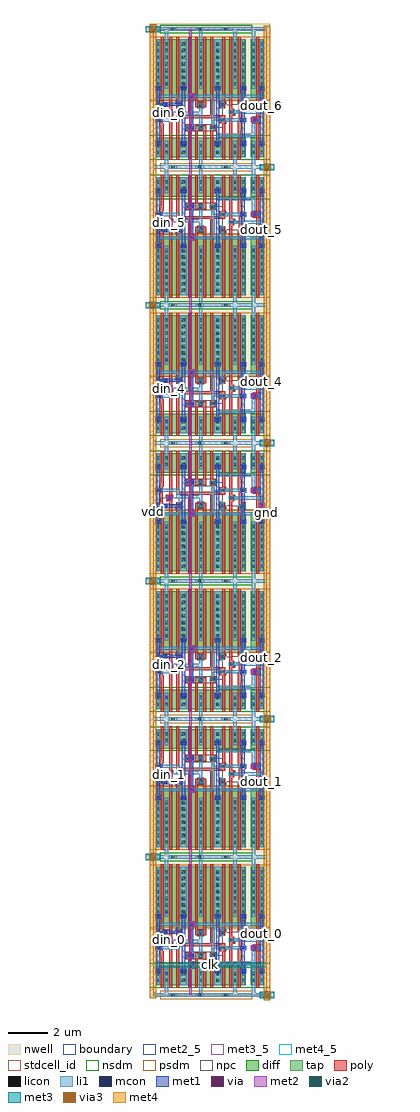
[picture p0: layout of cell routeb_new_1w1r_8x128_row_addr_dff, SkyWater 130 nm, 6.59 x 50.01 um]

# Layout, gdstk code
import gdstk
lib = gdstk.Library(unit=1e-6, precision=1e-09)
def R(c, l, rs):  # rectangles x0, y0, x1, y1
    for r in rs: c.add(gdstk.rectangle(r[:2], r[2:], *l))
def A(c, l, x, y, w, h, nx, ny, dx, dy):  # array of equal rectangles
    R(c, l, [(x+i*dx, y+j*dy, x+i*dx+w, y+j*dy+h) for i in range(nx) for j in range(ny)])
nwell = (64, 20)
diff = (65, 20)
tap = (65, 44)
poly = (66, 20)
licon = (66, 44)
li1 = (67, 20)
mcon = (67, 44)
met1 = (68, 20)
via = (68, 44)
met2_5 = (69, 5)
met2 = (69, 20)
via2 = (69, 44)
met3_5 = (70, 5)
met3 = (70, 20)
via3 = (70, 44)
met4_5 = (71, 5)
met4 = (71, 20)
stdcell_id = (81, 4)
nsdm = (93, 44)
psdm = (94, 20)
npc = (95, 20)
boundary = (235, 4)

sky130_fd_bd_sram__openr = lib.new_cell('sky130_fd_bd_sram__openram_dff')
R(sky130_fd_bd_sram__openr, nwell, [(-0.18,3.38,6.02,7.335)])
R(sky130_fd_bd_sram__openr, diff, [(0.14,0.51,4.75,1.51), (5.02,0.51,5.7,1.51), (0.14,3.56,4.75,6.56), (5.02,3.56,5.7,6.56)])
A(sky130_fd_bd_sram__openr, tap, 0.805, -0.085, 0.44, 0.17, 3, 2, 1.36, 7.07)
R(sky130_fd_bd_sram__openr, poly, [(0.405,0.38,0.555,2.085), (0.835,0.38,0.985,2.655), (1.195,0.38,1.345,2.505), (1.795,0.38,1.945,1.855), (2.155,0.38,2.305,1.885), (2.585,0.38,2.735,1.885), (2.945,0.38,3.095,1.855), (3.545,0.38,3.695,2.255), (3.905,0.38,4.055,2.655), (4.335,0.38,4.485,1.855), (5.285,0.38,5.435,2.255), (1.675,1.855,1.945,2.185), (2.945,1.855,3.215,2.185), (4.335,1.855,4.54,2.405), (2.155,1.885,2.735,2.155), (0.355,2.085,0.555,2.235), (0.355,2.235,0.505,3.055), (3.425,2.255,3.695,2.505), (5.165,2.255,5.435,2.585), (4.39,2.405,4.54,3.055), (1.195,2.505,3.695,2.655), (5.285,2.585,5.435,6.69), (0.715,2.655,0.985,2.985), (1.795,2.655,1.945,6.69), (2.945,2.655,3.095,6.69), (3.905,2.655,4.175,2.985), (0.835,2.985,0.985,6.69), (3.905,2.985,4.055,6.69), (1.195,3.03,1.465,3.36), (3.425,3.03,3.695,3.36), (0.235,3.055,0.505,3.335), (4.39,3.055,4.69,3.235), (2.155,3.065,2.735,3.335), (4.335,3.235,4.69,3.385), (0.235,3.335,0.555,3.385), (2.155,3.335,2.305,6.69), (2.585,3.335,2.735,6.69), (1.195,3.36,1.345,6.69), (3.545,3.36,3.695,6.69), (0.35,3.385,0.555,3.485), (4.335,3.385,4.485,6.69), (0.405,3.485,0.555,6.69)])
A(sky130_fd_bd_sram__openr, licon, 0.94, -0.085, 0.17, 0.17, 3, 2, 1.36, 7.07)
A(sky130_fd_bd_sram__openr, licon, 0.61, 0.675, 0.17, 0.17, 5, 2, 0.875, 0.34)
A(sky130_fd_bd_sram__openr, licon, 1.725, 1.935, 0.17, 0.17, 3, 1, 0.635, 0)
A(sky130_fd_bd_sram__openr, licon, 0.18, 4.185, 0.17, 0.17, 1, 7, 0, 0.34)
A(sky130_fd_bd_sram__openr, licon, 0.61, 4.185, 0.17, 0.17, 5, 7, 0.875, 0.34)
A(sky130_fd_bd_sram__openr, licon, 4.54, 4.185, 0.17, 0.17, 1, 7, 0, 0.34)
A(sky130_fd_bd_sram__openr, licon, 5.06, 4.185, 0.17, 0.17, 1, 7, 0, 0.34)
A(sky130_fd_bd_sram__openr, licon, 5.49, 4.185, 0.17, 0.17, 1, 7, 0, 0.34)
R(sky130_fd_bd_sram__openr, licon, [(0.18,0.675,0.35,0.845), (4.54,0.675,4.71,0.845), (5.06,0.675,5.23,0.845), (5.49,0.675,5.66,0.845), (0.18,1.015,0.35,1.185), (4.54,1.015,4.71,1.185), (5.06,1.015,5.23,1.185), (5.49,1.015,5.66,1.185), (3.475,2.335,3.645,2.505), (5.215,2.335,5.385,2.505), (0.765,2.735,0.935,2.905), (3.955,2.735,4.125,2.905), (1.245,3.11,1.415,3.28), (3.475,3.11,3.645,3.28), (2.36,3.115,2.53,3.285), (0.285,3.135,0.455,3.305), (4.47,3.135,4.64,3.305)])
A(sky130_fd_bd_sram__openr, li1, 0.61, 0.09, 0.17, 1.26, 3, 1, 1.75, 0)
A(sky130_fd_bd_sram__openr, li1, 0.61, 4.02, 0.17, 2.96, 3, 1, 1.75, 0)
R(sky130_fd_bd_sram__openr, li1, [(0,-0.09,5.84,0.09), (0,-0.09,5.84,0.09), (5.06,0.09,5.23,1.35), (0.18,0.51,0.35,1.35), (1.4,0.51,1.74,1.35), (3.15,0.51,3.49,1.35), (4.54,0.51,4.71,1.355), (5.49,0.51,5.66,1.355), (3.235,1.35,3.405,1.535), (3.235,1.535,5.23,1.705), (5.06,1.705,5.23,2.335), (1.64,1.935,2.065,2.105), (2.28,1.935,2.61,2.105), (2.915,1.935,3.245,2.105), (2.36,2.105,2.53,2.66), (2.995,2.105,3.165,3.535), (0.18,2.335,1.365,2.505), (3.395,2.335,4.71,2.505), (5.06,2.335,5.465,2.505), (1.195,2.505,1.365,2.66), (1.195,2.66,2.53,2.83), (0.685,2.735,1.015,2.905), (3.875,2.735,5.66,2.905), (2.36,2.83,2.53,3.115), (5.49,2.905,5.66,3.26), (1.245,3.03,1.415,3.535), (3.475,3.03,3.645,3.535), (2.28,3.115,2.61,3.285), (0.205,3.135,0.735,3.305), (4.39,3.135,4.72,3.305), (4.47,3.305,4.64,3.535), (0.205,3.535,5.66,3.705), (0.18,3.935,0.35,6.56), (1.485,3.935,1.655,4.02), (3.235,3.935,3.405,4.02), (4.54,3.935,4.71,6.56), (5.49,3.935,5.66,6.56), (1.4,4.02,1.74,6.56), (3.15,4.02,3.49,6.56), (5.06,4.02,5.23,6.98), (0,6.98,5.84,7.16), (0,6.98,5.84,7.16), (0,6.98,5.84,7.16)])
R(sky130_fd_bd_sram__openr, mcon, [(0.18,1.135,0.35,1.305), (1.485,1.135,1.655,1.305), (3.235,1.135,3.405,1.305), (4.54,1.135,4.71,1.305), (5.49,1.135,5.66,1.305), (1.895,1.935,2.065,2.105), (0.18,2.335,0.35,2.505), (4.54,2.335,4.71,2.505), (5.1,2.335,5.27,2.505), (0.765,2.735,0.935,2.905), (5.49,3.09,5.66,3.26), (0.565,3.135,0.735,3.305), (1.895,3.535,2.065,3.705), (0.18,3.935,0.35,4.105), (1.485,3.935,1.655,4.105), (3.235,3.935,3.405,4.105), (4.54,3.935,4.71,4.105), (5.49,3.935,5.66,4.105)])
R(sky130_fd_bd_sram__openr, met1, [(0.12,1.105,0.41,1.335), (1.425,1.105,1.715,1.335), (3.175,1.105,3.465,1.335), (4.48,1.105,4.77,1.335), (5.43,1.105,5.72,1.335), (0.18,1.335,0.35,2.305), (1.485,1.335,1.655,3.135), (3.235,1.335,3.405,3.905), (4.54,1.335,4.71,2.305), (5.49,1.335,5.66,3.045), (1.845,1.86,2.115,1.905), (1.835,1.905,2.125,2.135), (1.845,2.135,2.115,2.18), (1.895,2.18,2.065,3.46), (5.02,2.29,5.35,2.55), (0.12,2.305,0.41,2.535), (4.48,2.305,4.77,2.535), (0.18,2.535,0.35,3.905), (4.54,2.535,4.71,3.905), (0.685,2.69,1.015,2.95), (5.41,3.045,5.74,3.305), (0.505,3.105,0.795,3.135), (0.505,3.135,1.655,3.305), (0.505,3.305,0.795,3.335), (1.485,3.305,1.655,3.905), (5.49,3.305,5.66,3.905), (1.845,3.46,2.115,3.505), (1.835,3.505,2.125,3.735), (1.845,3.735,2.115,3.78), (0.12,3.905,0.41,4.135), (1.425,3.905,1.715,4.135), (3.175,3.905,3.465,4.135), (4.48,3.905,4.77,4.135), (5.43,3.905,5.72,4.135)])
R(sky130_fd_bd_sram__openr, via, [(5.11,2.345,5.26,2.495), (0.775,2.745,0.925,2.895), (5.5,3.1,5.65,3.25), (1.905,3.545,2.055,3.695)])
R(sky130_fd_bd_sram__openr, met2_5, [(0.685,2.69,1.015,2.95), (5.41,3.045,5.74,3.305), (1.845,3.46,2.115,3.78)])
R(sky130_fd_bd_sram__openr, met2, [(5.02,2.29,5.35,2.55), (0.685,2.69,1.015,2.95), (0.685,2.69,1.015,2.95), (0.685,2.69,1.015,2.95), (5.41,3.045,5.74,3.305), (5.41,3.045,5.74,3.305), (5.41,3.045,5.74,3.305), (1.845,3.46,2.115,3.78), (1.845,3.46,2.115,3.78), (1.845,3.46,2.115,3.78)])
R(sky130_fd_bd_sram__openr, stdcell_id, [(0,0,5.84,7.07)])
R(sky130_fd_bd_sram__openr, nsdm, [(-0.18,0.385,6.02,1.635), (0.36,6.86,5.075,7.07), (0.36,7.07,5.075,7.28)])
R(sky130_fd_bd_sram__openr, psdm, [(0.36,-0.21,5.075,0), (0.36,0,5.075,0.21), (-0.18,3.435,6.02,6.685)])
R(sky130_fd_bd_sram__openr, npc, [(1.625,1.835,3.265,2.01), (1.625,2.01,3.57,2.205), (3.07,2.205,3.57,2.235), (3.07,2.235,3.745,2.41), (5.115,2.235,5.485,2.605), (3.07,2.41,4.05,2.43), (3.375,2.43,4.05,2.605), (3.55,2.605,4.05,2.635), (0.665,2.635,1.035,2.81), (3.55,2.635,4.225,2.81), (0.36,2.81,1.34,3.01), (3.55,2.81,4.565,3.01), (0.36,3.01,1.515,3.035), (3.375,3.01,4.565,3.035), (2.26,3.015,2.63,3.385), (0.185,3.035,1.515,3.205), (3.375,3.035,4.74,3.205), (0.185,3.205,0.86,3.23), (1.145,3.205,1.515,3.38), (3.375,3.205,3.745,3.38), (4.03,3.205,4.74,3.23), (0.185,3.23,0.555,3.405), (4.37,3.23,4.74,3.405)])
R(sky130_fd_bd_sram__openr, boundary, [(0,0,5.84,7.07)])
sky130_fd_bd_sram__openr.add(gdstk.Label('QN', (5.035,2.52), layer=69, texttype=5))
sky130_fd_bd_sram__openr.add(gdstk.Label('CLK', (1.98,3.62), layer=69, texttype=5))
sky130_fd_bd_sram__openr.add(gdstk.Label('D', (0.85,2.82), layer=69, texttype=5))
sky130_fd_bd_sram__openr.add(gdstk.Label('Q', (5.575,3.175), layer=69, texttype=5))
sky130_fd_bd_sram__openr.add(gdstk.Label('VDD', (2.74,7.08), layer=67, texttype=5))
sky130_fd_bd_sram__openr.add(gdstk.Label('GND', (2.72,0), layer=67, texttype=5))
sky130_fd_bd_sram__openr.add(gdstk.Label('D', (0.85,2.82), layer=69, texttype=5))
sky130_fd_bd_sram__openr.add(gdstk.Label('Q', (5.575,3.175), layer=69, texttype=5))
sky130_fd_bd_sram__openr.add(gdstk.Label('clk', (1.98,3.62), layer=69, texttype=5))
sky130_fd_bd_sram__openr.add(gdstk.Label('vdd', (2.92,7.07), layer=67, texttype=5))
sky130_fd_bd_sram__openr.add(gdstk.Label('gnd', (2.92,0), layer=67, texttype=5))

routeb_new_1w1r_8x128_co = lib.new_cell('routeb_new_1w1r_8x128_contact_13')
R(routeb_new_1w1r_8x128_co, li1, [(0.06,0,0.23,0.33)])
R(routeb_new_1w1r_8x128_co, mcon, [(0.06,0.08,0.23,0.25)])
R(routeb_new_1w1r_8x128_co, met1, [(0,0.05,0.29,0.28)])
R(routeb_new_1w1r_8x128_co, stdcell_id, [(0,0,0.29,0.33)])
R(routeb_new_1w1r_8x128_co, boundary, [(0,0,0.29,0.33)])

c_routeb_new_1w1r_8x128_co = lib.new_cell('routeb_new_1w1r_8x128_contact_18')
R(c_routeb_new_1w1r_8x128_co, met1, [(0,0.03,0.32,0.29)])
R(c_routeb_new_1w1r_8x128_co, via, [(0.085,0.085,0.235,0.235)])
R(c_routeb_new_1w1r_8x128_co, met2, [(0.03,0,0.29,0.32)])
R(c_routeb_new_1w1r_8x128_co, stdcell_id, [(0,0,0.32,0.32)])
R(c_routeb_new_1w1r_8x128_co, boundary, [(0,0,0.32,0.32)])

c_routeb_new_1w1r_8x128_co_ = lib.new_cell('routeb_new_1w1r_8x128_contact_21')
R(c_routeb_new_1w1r_8x128_co_, met2, [(0.025,0,0.305,0.37)])
R(c_routeb_new_1w1r_8x128_co_, via2, [(0.065,0.085,0.265,0.285)])
R(c_routeb_new_1w1r_8x128_co_, met3, [(0,0.02,0.33,0.35)])
R(c_routeb_new_1w1r_8x128_co_, stdcell_id, [(0,0,0.33,0.37)])
R(c_routeb_new_1w1r_8x128_co_, boundary, [(0,0,0.33,0.37)])

c_routeb_new_1w1r_8x128_co__ = lib.new_cell('routeb_new_1w1r_8x128_contact_22')
R(c_routeb_new_1w1r_8x128_co__, met3, [(0,0.005,0.38,0.325)])
R(c_routeb_new_1w1r_8x128_co__, via3, [(0.09,0.065,0.29,0.265)])
R(c_routeb_new_1w1r_8x128_co__, met4, [(0.025,0,0.355,0.33)])
R(c_routeb_new_1w1r_8x128_co__, stdcell_id, [(0,0,0.38,0.33)])
R(c_routeb_new_1w1r_8x128_co__, boundary, [(0,0,0.38,0.33)])

routeb_new_1w1r_8x128_ro = lib.new_cell('routeb_new_1w1r_8x128_row_addr_dff')
R(routeb_new_1w1r_8x128_ro, met1, [(5.68,-0.13,6,0.13), (-0.16,6.94,0.16,7.2), (-0.16,6.94,0.16,7.2), (5.68,14.01,6,14.27), (5.68,14.01,6,14.27), (-0.16,21.08,0.16,21.34), (-0.16,21.08,0.16,21.34), (5.68,28.15,6,28.41), (5.68,28.15,6,28.41), (-0.16,35.22,0.16,35.48), (-0.16,35.22,0.16,35.48), (5.68,42.29,6,42.55), (5.68,42.29,6,42.55), (-0.16,49.36,0.16,49.62)])
R(routeb_new_1w1r_8x128_ro, met2_5, [(0.685,2.69,1.015,2.95), (5.41,3.045,5.74,3.305), (5.41,10.835,5.74,11.095), (0.685,11.19,1.015,11.45), (0.685,16.83,1.015,17.09), (5.41,17.185,5.74,17.445), (5.41,24.975,5.74,25.235), (0.685,25.33,1.015,25.59), (0.685,30.97,1.015,31.23), (5.41,31.325,5.74,31.585), (5.41,39.115,5.74,39.375), (0.685,39.47,1.015,39.73), (0.685,45.11,1.015,45.37), (5.41,45.465,5.74,45.725)])
R(routeb_new_1w1r_8x128_ro, met2, [(5.7,-0.12,5.98,0.125), (1.845,0,1.985,49.49), (0.685,2.69,1.015,2.95), (5.41,3.045,5.74,3.305), (-0.14,6.95,0.14,7.195), (-0.14,6.95,0.14,7.195), (5.41,10.835,5.74,11.095), (0.685,11.19,1.015,11.45), (5.7,14.02,5.98,14.265), (5.7,14.02,5.98,14.265), (0.685,16.83,1.015,17.09), (5.41,17.185,5.74,17.445), (-0.14,21.09,0.14,21.335), (-0.14,21.09,0.14,21.335), (5.41,24.975,5.74,25.235), (0.685,25.33,1.015,25.59), (5.7,28.16,5.98,28.405), (5.7,28.16,5.98,28.405), (0.685,30.97,1.015,31.23), (5.41,31.325,5.74,31.585), (-0.14,35.23,0.14,35.475), (-0.14,35.23,0.14,35.475), (5.41,39.115,5.74,39.375), (0.685,39.47,1.015,39.73), (5.7,42.3,5.98,42.545), (5.7,42.3,5.98,42.545), (0.685,45.11,1.015,45.37), (5.41,45.465,5.74,45.725), (-0.14,49.37,0.14,49.615)])
R(routeb_new_1w1r_8x128_ro, met3_5, [(0,1.39,5.84,1.69)])
R(routeb_new_1w1r_8x128_ro, met3, [(5.465,-0.16,6.215,0.16), (0,1.39,5.84,1.69), (-0.375,6.91,0.375,7.23), (-0.375,6.91,0.375,7.23), (5.465,13.98,6.215,14.3), (5.465,13.98,6.215,14.3), (-0.375,21.05,0.375,21.37), (-0.375,21.05,0.375,21.37), (5.465,28.12,6.215,28.44), (5.465,28.12,6.215,28.44), (-0.375,35.19,0.375,35.51), (-0.375,35.19,0.375,35.51), (5.465,42.26,6.215,42.58), (5.465,42.26,6.215,42.58), (-0.375,49.33,0.375,49.65)])
R(routeb_new_1w1r_8x128_ro, met4_5, [(5.675,-0.255,6.005,49.655), (-0.165,-0.165,0.165,49.745)])
R(routeb_new_1w1r_8x128_ro, met4, [(5.675,-0.255,6.005,49.655), (-0.165,-0.165,0.165,49.745)])
R(routeb_new_1w1r_8x128_ro, stdcell_id, [(0,0,5.84,49.49)])
R(routeb_new_1w1r_8x128_ro, boundary, [(0,0,5.84,49.49)])
routeb_new_1w1r_8x128_ro.add(gdstk.Reference(sky130_fd_bd_sram__openr, (0,0)))
routeb_new_1w1r_8x128_ro.add(gdstk.Reference(sky130_fd_bd_sram__openr, (0,14.14), x_reflection=True))
routeb_new_1w1r_8x128_ro.add(gdstk.Reference(sky130_fd_bd_sram__openr, (0,14.14)))
routeb_new_1w1r_8x128_ro.add(gdstk.Reference(sky130_fd_bd_sram__openr, (0,28.28), x_reflection=True))
routeb_new_1w1r_8x128_ro.add(gdstk.Reference(sky130_fd_bd_sram__openr, (0,28.28)))
routeb_new_1w1r_8x128_ro.add(gdstk.Reference(sky130_fd_bd_sram__openr, (0,42.42), x_reflection=True))
routeb_new_1w1r_8x128_ro.add(gdstk.Reference(sky130_fd_bd_sram__openr, (0,42.42)))
routeb_new_1w1r_8x128_ro.add(gdstk.Reference(routeb_new_1w1r_8x128_co, (-0.145,6.905)))
routeb_new_1w1r_8x128_ro.add(gdstk.Reference(c_routeb_new_1w1r_8x128_co, (-0.16,6.91)))
routeb_new_1w1r_8x128_ro.add(gdstk.Reference(c_routeb_new_1w1r_8x128_co_, (-0.165,6.885)))
routeb_new_1w1r_8x128_ro.add(gdstk.Reference(c_routeb_new_1w1r_8x128_co__, (-0.19,6.905)))
routeb_new_1w1r_8x128_ro.add(gdstk.Reference(routeb_new_1w1r_8x128_co, (-0.145,6.905)))
routeb_new_1w1r_8x128_ro.add(gdstk.Reference(c_routeb_new_1w1r_8x128_co, (-0.16,6.91)))
routeb_new_1w1r_8x128_ro.add(gdstk.Reference(c_routeb_new_1w1r_8x128_co_, (-0.165,6.885)))
routeb_new_1w1r_8x128_ro.add(gdstk.Reference(c_routeb_new_1w1r_8x128_co__, (-0.19,6.905)))
routeb_new_1w1r_8x128_ro.add(gdstk.Reference(routeb_new_1w1r_8x128_co, (-0.145,21.045)))
routeb_new_1w1r_8x128_ro.add(gdstk.Reference(c_routeb_new_1w1r_8x128_co, (-0.16,21.05)))
routeb_new_1w1r_8x128_ro.add(gdstk.Reference(c_routeb_new_1w1r_8x128_co_, (-0.165,21.025)))
routeb_new_1w1r_8x128_ro.add(gdstk.Reference(c_routeb_new_1w1r_8x128_co__, (-0.19,21.045)))
routeb_new_1w1r_8x128_ro.add(gdstk.Reference(routeb_new_1w1r_8x128_co, (-0.145,21.045)))
routeb_new_1w1r_8x128_ro.add(gdstk.Reference(c_routeb_new_1w1r_8x128_co, (-0.16,21.05)))
routeb_new_1w1r_8x128_ro.add(gdstk.Reference(c_routeb_new_1w1r_8x128_co_, (-0.165,21.025)))
routeb_new_1w1r_8x128_ro.add(gdstk.Reference(c_routeb_new_1w1r_8x128_co__, (-0.19,21.045)))
routeb_new_1w1r_8x128_ro.add(gdstk.Reference(routeb_new_1w1r_8x128_co, (-0.145,35.185)))
routeb_new_1w1r_8x128_ro.add(gdstk.Reference(c_routeb_new_1w1r_8x128_co, (-0.16,35.19)))
routeb_new_1w1r_8x128_ro.add(gdstk.Reference(c_routeb_new_1w1r_8x128_co_, (-0.165,35.165)))
routeb_new_1w1r_8x128_ro.add(gdstk.Reference(c_routeb_new_1w1r_8x128_co__, (-0.19,35.185)))
routeb_new_1w1r_8x128_ro.add(gdstk.Reference(routeb_new_1w1r_8x128_co, (-0.145,35.185)))
routeb_new_1w1r_8x128_ro.add(gdstk.Reference(c_routeb_new_1w1r_8x128_co, (-0.16,35.19)))
routeb_new_1w1r_8x128_ro.add(gdstk.Reference(c_routeb_new_1w1r_8x128_co_, (-0.165,35.165)))
routeb_new_1w1r_8x128_ro.add(gdstk.Reference(c_routeb_new_1w1r_8x128_co__, (-0.19,35.185)))
routeb_new_1w1r_8x128_ro.add(gdstk.Reference(routeb_new_1w1r_8x128_co, (-0.145,49.325)))
routeb_new_1w1r_8x128_ro.add(gdstk.Reference(c_routeb_new_1w1r_8x128_co, (-0.16,49.33)))
routeb_new_1w1r_8x128_ro.add(gdstk.Reference(c_routeb_new_1w1r_8x128_co_, (-0.165,49.305)))
routeb_new_1w1r_8x128_ro.add(gdstk.Reference(c_routeb_new_1w1r_8x128_co__, (-0.19,49.325)))
routeb_new_1w1r_8x128_ro.add(gdstk.Reference(routeb_new_1w1r_8x128_co, (5.695,-0.165)))
routeb_new_1w1r_8x128_ro.add(gdstk.Reference(c_routeb_new_1w1r_8x128_co, (5.68,-0.16)))
routeb_new_1w1r_8x128_ro.add(gdstk.Reference(c_routeb_new_1w1r_8x128_co_, (5.675,-0.185)))
routeb_new_1w1r_8x128_ro.add(gdstk.Reference(c_routeb_new_1w1r_8x128_co__, (5.65,-0.165)))
routeb_new_1w1r_8x128_ro.add(gdstk.Reference(routeb_new_1w1r_8x128_co, (5.695,13.975)))
routeb_new_1w1r_8x128_ro.add(gdstk.Reference(c_routeb_new_1w1r_8x128_co, (5.68,13.98)))
routeb_new_1w1r_8x128_ro.add(gdstk.Reference(c_routeb_new_1w1r_8x128_co_, (5.675,13.955)))
routeb_new_1w1r_8x128_ro.add(gdstk.Reference(c_routeb_new_1w1r_8x128_co__, (5.65,13.975)))
routeb_new_1w1r_8x128_ro.add(gdstk.Reference(routeb_new_1w1r_8x128_co, (5.695,13.975)))
routeb_new_1w1r_8x128_ro.add(gdstk.Reference(c_routeb_new_1w1r_8x128_co, (5.68,13.98)))
routeb_new_1w1r_8x128_ro.add(gdstk.Reference(c_routeb_new_1w1r_8x128_co_, (5.675,13.955)))
routeb_new_1w1r_8x128_ro.add(gdstk.Reference(c_routeb_new_1w1r_8x128_co__, (5.65,13.975)))
routeb_new_1w1r_8x128_ro.add(gdstk.Reference(routeb_new_1w1r_8x128_co, (5.695,28.115)))
routeb_new_1w1r_8x128_ro.add(gdstk.Reference(c_routeb_new_1w1r_8x128_co, (5.68,28.12)))
routeb_new_1w1r_8x128_ro.add(gdstk.Reference(c_routeb_new_1w1r_8x128_co_, (5.675,28.095)))
routeb_new_1w1r_8x128_ro.add(gdstk.Reference(c_routeb_new_1w1r_8x128_co__, (5.65,28.115)))
routeb_new_1w1r_8x128_ro.add(gdstk.Reference(routeb_new_1w1r_8x128_co, (5.695,28.115)))
routeb_new_1w1r_8x128_ro.add(gdstk.Reference(c_routeb_new_1w1r_8x128_co, (5.68,28.12)))
routeb_new_1w1r_8x128_ro.add(gdstk.Reference(c_routeb_new_1w1r_8x128_co_, (5.675,28.095)))
routeb_new_1w1r_8x128_ro.add(gdstk.Reference(c_routeb_new_1w1r_8x128_co__, (5.65,28.115)))
routeb_new_1w1r_8x128_ro.add(gdstk.Reference(routeb_new_1w1r_8x128_co, (5.695,42.255)))
routeb_new_1w1r_8x128_ro.add(gdstk.Reference(c_routeb_new_1w1r_8x128_co, (5.68,42.26)))
routeb_new_1w1r_8x128_ro.add(gdstk.Reference(c_routeb_new_1w1r_8x128_co_, (5.675,42.235)))
routeb_new_1w1r_8x128_ro.add(gdstk.Reference(c_routeb_new_1w1r_8x128_co__, (5.65,42.255)))
routeb_new_1w1r_8x128_ro.add(gdstk.Reference(routeb_new_1w1r_8x128_co, (5.695,42.255)))
routeb_new_1w1r_8x128_ro.add(gdstk.Reference(c_routeb_new_1w1r_8x128_co, (5.68,42.26)))
routeb_new_1w1r_8x128_ro.add(gdstk.Reference(c_routeb_new_1w1r_8x128_co_, (5.675,42.235)))
routeb_new_1w1r_8x128_ro.add(gdstk.Reference(c_routeb_new_1w1r_8x128_co__, (5.65,42.255)))
routeb_new_1w1r_8x128_ro.add(gdstk.Reference(c_routeb_new_1w1r_8x128_co_, (1.815,1.355)))
routeb_new_1w1r_8x128_ro.add(gdstk.Label('vdd', (0,24.79), layer=71, texttype=5))
routeb_new_1w1r_8x128_ro.add(gdstk.Label('gnd', (5.84,24.7), layer=71, texttype=5))
routeb_new_1w1r_8x128_ro.add(gdstk.Label('din_0', (0.85,2.82), layer=69, texttype=5))
routeb_new_1w1r_8x128_ro.add(gdstk.Label('dout_0', (5.575,3.175), layer=69, texttype=5))
routeb_new_1w1r_8x128_ro.add(gdstk.Label('din_1', (0.85,11.32), layer=69, texttype=5))
routeb_new_1w1r_8x128_ro.add(gdstk.Label('dout_1', (5.575,10.965), layer=69, texttype=5))
routeb_new_1w1r_8x128_ro.add(gdstk.Label('din_2', (0.85,16.96), layer=69, texttype=5))
routeb_new_1w1r_8x128_ro.add(gdstk.Label('dout_2', (5.575,17.315), layer=69, texttype=5))
routeb_new_1w1r_8x128_ro.add(gdstk.Label('din_3', (0.85,25.46), layer=69, texttype=5))
routeb_new_1w1r_8x128_ro.add(gdstk.Label('dout_3', (5.575,25.105), layer=69, texttype=5))
routeb_new_1w1r_8x128_ro.add(gdstk.Label('din_4', (0.85,31.1), layer=69, texttype=5))
routeb_new_1w1r_8x128_ro.add(gdstk.Label('dout_4', (5.575,31.455), layer=69, texttype=5))
routeb_new_1w1r_8x128_ro.add(gdstk.Label('din_5', (0.85,39.6), layer=69, texttype=5))
routeb_new_1w1r_8x128_ro.add(gdstk.Label('dout_5', (5.575,39.245), layer=69, texttype=5))
routeb_new_1w1r_8x128_ro.add(gdstk.Label('din_6', (0.85,45.24), layer=69, texttype=5))
routeb_new_1w1r_8x128_ro.add(gdstk.Label('dout_6', (5.575,45.595), layer=69, texttype=5))
routeb_new_1w1r_8x128_ro.add(gdstk.Label('clk', (2.92,1.54), layer=70, texttype=5))

lib.write_gds('routeb_new_1w1r_8x128_row_addr_dff.gds')
